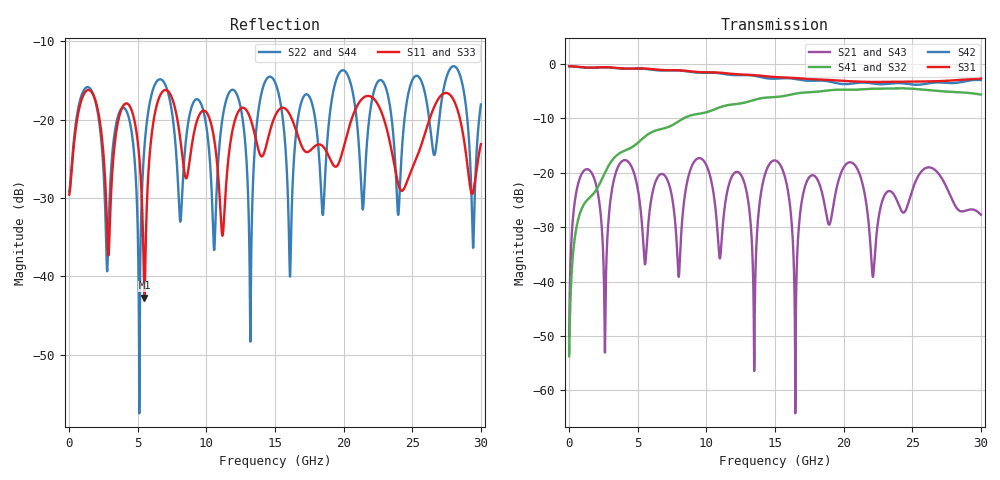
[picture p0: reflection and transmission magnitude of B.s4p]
!diffpair-meanders B (untuned 180-degree U-bend), mesh coarse
!ports 1 P_near 2 N_near 3 P_far 4 N_far; openEMS FDTD, lumped 50 ohm ports
# Hz S RI R 50.0
! Port[1] = P_near
! Port[2] = N_near
! Port[3] = P_far
! Port[4] = N_far
!freq ReS11 ImS11 ReS12 ImS12 ReS13 ImS13
! ReS14 ImS14
! ReS21 ImS21 ReS22 ImS22 ReS23 ImS23
! ReS24 ImS24
! ReS31 ImS31 ReS32 ImS32 ReS33 ImS33
! ReS34 ImS34
! ReS41 ImS41 ReS42 ImS42 ReS43 ImS43
! ReS44 ImS44
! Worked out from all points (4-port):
!   3000 points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, 10 MHz to 30 GHz, reference 50 ohm
!   strongest paths, dB at 10 MHz, 7.51 GHz, 15.01 GHz, 22.51 GHz, 30 GHz:
!     S31: -0.4, -1.1, -2.4, -3.3, -2.7
!     S42: -0.4, -1.2, -2.7, -3.7, -3.0
!     S41: -53.7, -11.3, -6.1, -4.5, -5.6
!     S32: -53.7, -11.3, -6.1, -4.6, -5.7
!     S21: -53.2, -24.5, -17.7, -29.0, -27.7
!     S43: -53.2, -24.5, -17.7, -29.1, -27.7
!   lowest |S11| = -42.7 dB at 5.5 GHz (marker M1), VSWR 1.01, Z = 50.7 + j0.143 ohm
!   |S11| at or under -10 dB: start of sweep to end of sweep
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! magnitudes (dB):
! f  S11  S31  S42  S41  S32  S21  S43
! 10 MHz  -29.6  -0.4  -0.4  -53.7  -53.7  -53.2  -53.2
! 1.12 GHz  -16.6  -0.6  -0.7  -25.7  -25.7  -19.5  -19.5
! 5.5 GHz  -42.7  -0.8  -0.9  -13.4  -13.4  -36.3  -36.0
! 6.97 GHz  -16.2  -1.1  -1.2  -11.8  -11.8  -20.5  -20.5
! 13.21 GHz  -19.8  -2.0  -2.1  -6.8  -6.8  -28.7  -28.7
! 14.53 GHz  -22.2  -2.3  -2.7  -6.1  -6.2  -18.7  -18.7
! 30 GHz  -23.1  -2.7  -3.0  -5.6  -5.7  -27.7  -27.7
